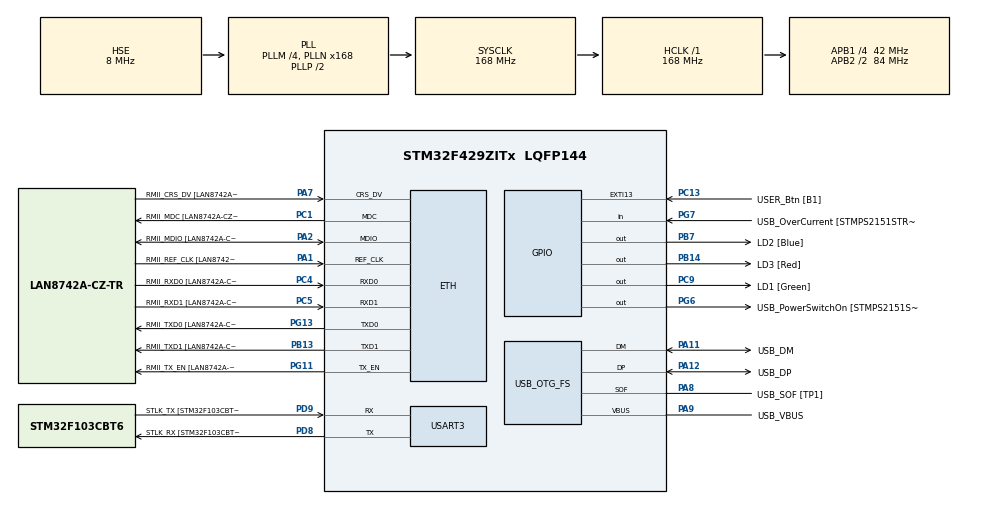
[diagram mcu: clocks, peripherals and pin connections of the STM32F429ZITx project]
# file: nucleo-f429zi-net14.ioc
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ETH.MediaInterface=ETH_MEDIA_INTERFACE_RMII
ETH.PHY_Name=LAN8742A_PHY_ADDRESS
ETH.PHY_Value=0
ETH.PhyAddress=0
FREERTOS.Tasks01=defaultTask,0,128,StartDefaultTask,Default,NULL
FREERTOS.configUSE_PREEMPTION=0
LWIP.GATEWAY_ADDRESS=010.001.001.001
LWIP.IP_ADDRESS=010.001.101.101
LWIP.LWIP_DHCP=0
LWIP.LWIP_TCPIP_CORE_LOCKING=1
LWIP.NETMASK_ADDRESS=255.255.000.000
LWIP.Version=v2.0.3_Cube
Mcu.Family=STM32F4
Mcu.Name=STM32F429ZITx
Mcu.Package=LQFP144
NVIC.ETH_IRQn=true\:5\:0\:false\:true\:true\:1\:true\:true\:true
NVIC.PriorityGroup=NVIC_PRIORITYGROUP_4
NVIC.TIM1_UP_TIM10_IRQn=true\:0\:0\:false\:false\:true\:false\:false\:true
NVIC.TimeBase=TIM1_UP_TIM10_IRQn
NVIC.TimeBaseIP=TIM1
PA1.GPIO_Label=RMII_REF_CLK [LAN8742A-CZ-TR_REFCLK0]
PA1.Mode=RMII
PA1.Signal=ETH_REF_CLK
PA10.GPIO_Label=USB_ID
PA10.Signal=USB_OTG_FS_ID
PA11.GPIO_Label=USB_DM
PA11.Mode=Device_Only
PA11.Signal=USB_OTG_FS_DM
PA12.GPIO_Label=USB_DP
PA12.Mode=Device_Only
PA12.Signal=USB_OTG_FS_DP
PA13.GPIO_Label=TMS
PA13.Mode=Serial_Wire
PA13.Signal=SYS_JTMS-SWDIO
PA14.GPIO_Label=TCK
PA14.Mode=Serial_Wire
PA14.Signal=SYS_JTCK-SWCLK
PA2.GPIO_Label=RMII_MDIO [LAN8742A-CZ-TR_MDIO]
PA2.Mode=RMII
PA2.Signal=ETH_MDIO
PA7.GPIO_Label=RMII_CRS_DV [LAN8742A-CZ-TR_CRS_DV]
PA7.Mode=RMII
PA7.Signal=ETH_CRS_DV
PA8.GPIO_Label=USB_SOF [TP1]
PA8.Mode=Activate_SOF_FS
PA8.Signal=USB_OTG_FS_SOF
PA9.GPIO_Label=USB_VBUS
PA9.Mode=Activate_VBUS
PA9.Signal=USB_OTG_FS_VBUS
PB13.GPIO_Label=RMII_TXD1 [LAN8742A-CZ-TR_TXD1]
PB13.Mode=RMII
PB13.Signal=ETH_TXD1
PB14.GPIO_Label=LD3 [Red]
PB14.Signal=GPIO_Output
PB7.GPIO_Label=LD2 [Blue]
PB7.Signal=GPIO_Output
PC1.GPIO_Label=RMII_MDC [LAN8742A-CZ-TR_MDC]
PC1.Mode=RMII
PC1.Signal=ETH_MDC
PC13.GPIO_Label=USER_Btn [B1]
PC13.Signal=GPXTI13
PC14/OSC32_IN.Mode=LSE-External-Oscillator
PC14/OSC32_IN.Signal=RCC_OSC32_IN
PC15/OSC32_OUT.Mode=LSE-External-Oscillator
PC15/OSC32_OUT.Signal=RCC_OSC32_OUT
PC4.GPIO_Label=RMII_RXD0 [LAN8742A-CZ-TR_RXD0]
PC4.Mode=RMII
PC4.Signal=ETH_RXD0
PC5.GPIO_Label=RMII_RXD1 [LAN8742A-CZ-TR_RXD1]
PC5.Mode=RMII
PC5.Signal=ETH_RXD1
PC9.GPIO_Label=LD1 [Green]
PC9.Signal=GPIO_Output
PD8.GPIO_Label=STLK_RX [STM32F103CBT6_PA3]
PD8.Mode=Asynchronous
PD8.Signal=USART3_TX
PD9.GPIO_Label=STLK_TX [STM32F103CBT6_PA2]
PD9.Mode=Asynchronous
PD9.Signal=USART3_RX
PG11.GPIO_Label=RMII_TX_EN [LAN8742A-CZ-TR_TXEN]
PG11.Mode=RMII
PG11.Signal=ETH_TX_EN
PG13.GPIO_Label=RMII_TXD0 [LAN8742A-CZ-TR_TXD0]
PG13.Mode=RMII
PG13.Signal=ETH_TXD0
PG6.GPIO_Label=USB_PowerSwitchOn [STMPS2151STR_EN]
PG6.Signal=GPIO_Output
PG7.GPIO_Label=USB_OverCurrent [STMPS2151STR_FAULT]
PG7.Signal=GPIO_Input
PH0/OSC_IN.GPIO_Label=MCO [STM32F103CBT6_PA8]
PH0/OSC_IN.Mode=HSE-External-Clock-Source
PH0/OSC_IN.Signal=RCC_OSC_IN
PH1/OSC_OUT.Mode=HSE-External-Clock-Source
PH1/OSC_OUT.Signal=RCC_OSC_OUT
ProjectManager.HeapSize=0x200
ProjectManager.StackSize=0x400
ProjectManager.TargetToolchain=TrueSTUDIO
RCC.48MHZClocksFreq_Value=48000000
RCC.AHBFreq_Value=168000000
RCC.APB1CLKDivider=RCC_HCLK_DIV4
RCC.APB1Freq_Value=42000000
RCC.APB1TimFreq_Value=84000000
RCC.APB2CLKDivider=RCC_HCLK_DIV2
RCC.APB2Freq_Value=84000000
RCC.APB2TimCLKDivider=2
RCC.APB2TimFreq_Value=168000000
RCC.CortexFreq_Value=168000000
RCC.HCLKFreq_Value=168000000
RCC.HSE_VALUE=8000000
RCC.HSI_VALUE=16000000
RCC.PLLM=4
RCC.PLLMUL=RCC_PLL_MUL9
RCC.PLLN=168
RCC.PLLQ=7
RCC.PRESCALERUSB=RCC_USBCLKSOURCE_PLL_DIV1_5
RCC.SYSCLKFreq_VALUE=168000000
RCC.SYSCLKSource=RCC_SYSCLKSOURCE_PLLCLK
RCC.SYSCLKSourceVirtual=RCC_SYSCLKSOURCE_PLLCLK
RCC.USBFreq_Value=48000000
RCC.VCOOutputFreq_Value=336000000
USART3.VirtualMode=VM_ASYNC
USB_OTG_FS.VirtualMode=Device_Only
VP_FREERTOS_VS_CMSIS_V1.Mode=CMSIS_V1
VP_LWIP_VS_Enabled.Mode=Enabled
VP_SYS_VS_tim1.Mode=TIM1
board=NUCLEO-F429ZI

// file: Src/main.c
/* USER CODE BEGIN Header */
/**
  ******************************************************************************
  * @file           : main.c
  * @brief          : Main program body
  ******************************************************************************
  * @attention
  *
  * <h2><center>&copy; Copyright (c) 2019 STMicroelectronics.
  * All rights reserved.</center></h2>
  *
  * This software component is licensed by ST under Ultimate Liberty license
  * SLA0044, the "License"; You may not use this file except in compliance with
  * the License. You may obtain a copy of the License at:
  *                             www.st.com/SLA0044
  *
  ******************************************************************************
  */
/* USER CODE END Header */

#include "main.h"
#include "cmsis_os.h"
#include "lwip.h"
#include "usart.h"
#include "usb_otg.h"
#include "gpio.h"

/* USER CODE BEGIN Includes */
#include <stdio.h>
#include <sys/socket.h>
//#include<arpa/inet.h>
#include <inet.h>
/* USER CODE END Includes */

void SystemClock_Config(void);
void MX_FREERTOS_Init(void);
static void MX_NVIC_Init(void);

int main(void)

{

  /* MCU Configuration--------------------------------------------------------*/

  /* Reset of all peripherals, Initializes the Flash interface and the Systick. */
  HAL_Init();

  /* Configure the system clock */
  SystemClock_Config();

  /* Initialize all configured peripherals */
  MX_GPIO_Init();
  MX_USART3_UART_Init();
  MX_USB_OTG_FS_PCD_Init();

  /* Initialize interrupts */
  MX_NVIC_Init();

  /* Call init function for freertos objects (in freertos.c) */
  MX_FREERTOS_Init();

  /* Start scheduler */
  osKernelStart();

  /* We should never get here as control is now taken by the scheduler */

  /* Infinite loop */
  while (1)
  {

  }
}

void SystemClock_Config(void)
{
  RCC_OscInitTypeDef RCC_OscInitStruct = {0};
  RCC_ClkInitTypeDef RCC_ClkInitStruct = {0};

  /** Configure the main internal regulator output voltage
  */
  __HAL_RCC_PWR_CLK_ENABLE();
  __HAL_PWR_VOLTAGESCALING_CONFIG(PWR_REGULATOR_VOLTAGE_SCALE1);
  /** Initializes the CPU, AHB and APB busses clocks
  */
  RCC_OscInitStruct.OscillatorType = RCC_OSCILLATORTYPE_HSE;
  RCC_OscInitStruct.HSEState = RCC_HSE_BYPASS;
  RCC_OscInitStruct.PLL.PLLState = RCC_PLL_ON;
  RCC_OscInitStruct.PLL.PLLSource = RCC_PLLSOURCE_HSE;
  RCC_OscInitStruct.PLL.PLLM = 4;
  RCC_OscInitStruct.PLL.PLLN = 168;
  RCC_OscInitStruct.PLL.PLLP = RCC_PLLP_DIV2;
  RCC_OscInitStruct.PLL.PLLQ = 7;
  if (HAL_RCC_OscConfig(&RCC_OscInitStruct) != HAL_OK)
  {
    Error_Handler();
  }
  /** Initializes the CPU, AHB and APB busses clocks
  */
  RCC_ClkInitStruct.ClockType = RCC_CLOCKTYPE_HCLK|RCC_CLOCKTYPE_SYSCLK
                              |RCC_CLOCKTYPE_PCLK1|RCC_CLOCKTYPE_PCLK2;
  RCC_ClkInitStruct.SYSCLKSource = RCC_SYSCLKSOURCE_PLLCLK;
  RCC_ClkInitStruct.AHBCLKDivider = RCC_SYSCLK_DIV1;
  RCC_ClkInitStruct.APB1CLKDivider = RCC_HCLK_DIV4;
  RCC_ClkInitStruct.APB2CLKDivider = RCC_HCLK_DIV2;

  if (HAL_RCC_ClockConfig(&RCC_ClkInitStruct, FLASH_LATENCY_5) != HAL_OK)
  {
    Error_Handler();
  }
}

/**
  * @brief NVIC Configuration.
  * @retval None
  */
static void MX_NVIC_Init(void)
{
  /* ETH_IRQn interrupt configuration */
  HAL_NVIC_SetPriority(ETH_IRQn, 5, 0);
  HAL_NVIC_EnableIRQ(ETH_IRQn);
}

void HAL_TIM_PeriodElapsedCallback(TIM_HandleTypeDef *htim)
{
  if (htim->Instance == TIM1) {
    HAL_IncTick();
  }
}

void Error_Handler(void)
{
}

/************************ (C) COPYRIGHT STMicroelectronics *****END OF FILE****/

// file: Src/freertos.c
/* USER CODE BEGIN Header */
/**
  ******************************************************************************
  * File Name          : freertos.c
  * Description        : Code for freertos applications
  ******************************************************************************
  * @attention
  *
  * <h2><center>&copy; Copyright (c) 2019 STMicroelectronics.
  * All rights reserved.</center></h2>
  *
  * This software component is licensed by ST under Ultimate Liberty license
  * SLA0044, the "License"; You may not use this file except in compliance with
  * the License. You may obtain a copy of the License at:
  *                             www.st.com/SLA0044
  *
  ******************************************************************************
  */
/* USER CODE END Header */

#include "FreeRTOS.h"
#include "task.h"
#include "main.h"
#include "cmsis_os.h"

/* USER CODE BEGIN Includes */
#include <stdio.h>
#include "socket_client.h"
#include <stdlib.h>
#include <unistd.h>
#include <sys/types.h>
#include <sys/socket.h>
#include <string.h>
#include "socket_server.h"

/* USER CODE END Includes */

osThreadId defaultTaskHandle;

void StartDefaultTask(void const * argument);

extern void MX_LWIP_Init(void);
void MX_FREERTOS_Init(void); /* (MISRA C 2004 rule 8.1) */

/* GetIdleTaskMemory prototype (linked to static allocation support) */
void vApplicationGetIdleTaskMemory( StaticTask_t **ppxIdleTaskTCBBuffer, StackType_t **ppxIdleTaskStackBuffer, uint32_t *pulIdleTaskStackSize );

/* USER CODE BEGIN GET_IDLE_TASK_MEMORY */
static StaticTask_t xIdleTaskTCBBuffer;
static StackType_t xIdleStack[configMINIMAL_STACK_SIZE];

void vApplicationGetIdleTaskMemory( StaticTask_t **ppxIdleTaskTCBBuffer, StackType_t **ppxIdleTaskStackBuffer, uint32_t *pulIdleTaskStackSize )
{
  *ppxIdleTaskTCBBuffer = &xIdleTaskTCBBuffer;
  *ppxIdleTaskStackBuffer = &xIdleStack[0];
  *pulIdleTaskStackSize = configMINIMAL_STACK_SIZE;
  /* place for user code */
}
/* USER CODE END GET_IDLE_TASK_MEMORY */

void MX_FREERTOS_Init(void) {

  /* Create the thread(s) */
  /* definition and creation of defaultTask */
  osThreadDef(defaultTask, StartDefaultTask, osPriorityNormal, 0, 128);
  defaultTaskHandle = osThreadCreate(osThread(defaultTask), NULL);

}

void StartDefaultTask(void const * argument)
{
  /* init code for LWIP */
  MX_LWIP_Init();

  /* USER CODE BEGIN StartDefaultTask */
  /* Infinite loop */
  int sdsocket = -1;

  for(;;)
  {

//    printf("bonjour");
//	  osDelay(3000);

	 int retsend=0;
	 int retreceive=0;
//
//	  sdsocket= connexion(IP_SERVEUR, PORT);  // sdsocket devient le socket
//	  if(sdsocket!= -1)        //connexion différente d'erreur
//	  {
//		  static char *message = "Bonjour, je suis le client";
//		  while(retsend!=-1)
//		  {
//			  retsend = send_msg(sdsocket, message, strlen (message));
//			  osDelay(2000);
//		  }
//
//		  if(retsend== -1)
//		  {
//			  close(sdsocket);
//			  sdsocket = -1;
//		  }
//
//
//		  retreceive = receivemessage (sdsocket, message , strlen (message));
//		  if(retreceive!=-1)
//		  {
//			  receivemessage (sdsocket, message , strlen (message));
//			  osDelay(2000);
//		  }
//		  if (retreceive==-1)
//		  {
//			  close(sdsocket);
//			  sdsocket = -1;
//		  }

	 sdsocket = connexion_tcp_server_wait(IP_NUCLEO, KLISTEN_PORT);
	 while(sdsocket!=-1)
	 {
		 static char *message = "Bonjour, je suis le serveur\n";
//		 if(retsend!=-1)
//		 {
			 retsend = ssend_msg(sdsocket, message, strlen (message));
			 osDelay(2000);
		 //}

		 if(retsend== -1)
		 {
			 close(sdsocket);
			 sdsocket = -1;
		 }

		 retreceive = sreceivemessage (sdsocket, message , strlen (message));
		 osDelay(2000);
//		 if(retreceive!=-1)
//		 {
//			 receivemessage (sdsocket, message , strlen (message));
//			 osDelay(2000);
//		 }
		 if (retreceive==-1)
		 {
			 close(sdsocket);
			 sdsocket = -1;
		 }
	 }

  }
  /* USER CODE END StartDefaultTask */
}

/************************ (C) COPYRIGHT STMicroelectronics *****END OF FILE****/
